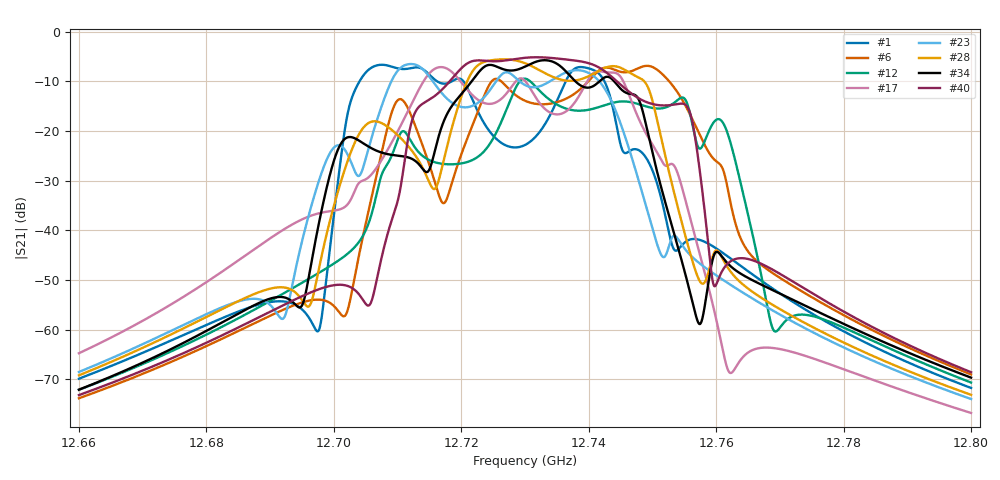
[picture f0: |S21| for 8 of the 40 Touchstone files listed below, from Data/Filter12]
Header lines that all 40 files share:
! TOUCHSTONE file generated by CST MICROWAVE STUDIO
! Project name: WaveGuide_BPF-Ver4.1_U-shape_Ku_T3_C4_CWA_2.cst
! Header version: 2018
! Port assignment regex: !\s*Touchstone port\s*([0-9]+)\s*=\s*(CST MWS port|CST DS port)\s*([0-9]+|Zmin|Zmax)\s*\(\"(.*)\"\)(\s*mode\s*([0-9]+))?.*
! Touchstone port assignment:
! Touchstone port 1 = CST MWS port 1 ("")
! Touchstone port 2 = CST MWS port 2 ("")
# GHz S RI R 50
Fixed: cavity_h = 16, cavity_l0 = 10, cavity_r = 2.5, cavity_screw_l = 0.5, cavity_screw_r = 1.5, cavity_w = 8, iris_h00 = 0, iris_h112 = 0, iris_rx = 0.1, iris_screw_l = 0.5, iris_screw_r = 1.5, iris_shift00 = 0, iris_shift112 = 0, iris_shift211 = 3.5, iris_shift310 = 0, iris_shift49 = 0, iris_shift58 = 3.5, iris_shift67 = 3.5, iris_tx = 4.5, iris_tz = 4.5, iris_w00 = 0, iris_w112 = 0, iris_w211 = 4, iris_w58 = 4, iris_w67 = 4, mesh_cavity = 5, mesh_iris = 7, mesh_screw = 7, order = 12, reset_all = 0, sigma = 4.8e+07
Also varied, not listed: iris_h45, iris_h49, iris_h56, iris_h58, iris_h67, iris_w310, iris_w49
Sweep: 12.66 GHz to 12.8 GHz
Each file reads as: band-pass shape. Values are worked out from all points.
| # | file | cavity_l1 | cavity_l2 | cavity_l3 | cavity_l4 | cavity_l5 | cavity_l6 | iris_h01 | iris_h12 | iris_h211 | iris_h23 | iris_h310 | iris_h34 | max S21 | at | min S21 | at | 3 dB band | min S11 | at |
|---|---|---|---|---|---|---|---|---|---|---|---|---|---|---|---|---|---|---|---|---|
| 1 | 001_Sprms.s2p | 15.2292 | 16.8302 | 17.1369 | 17.2518 | 17.1681 | 17.6195 | 8.8306 | 5.6052 | 3.6679 | 5.1996 | 3.9716 | 5.0803 | -6.69 dB | 12.708 GHz | -71.8 dB | 12.8 GHz | 12.704 GHz-12.716 GHz | -22.6 dB | 12.706 GHz |
| 2 | 002_Sprms.s2p | 15.1701 | 16.8843 | 17.0814 | 17.3094 | 17.1483 | 17.5959 | 8.8372 | 5.6103 | 3.6655 | 5.1879 | 3.9793 | 5.0769 | -10.77 dB | 12.715 GHz | -73.0 dB | 12.8 GHz | 12.713 GHz-12.717 GHz | -14.5 dB | 12.75 GHz |
| 3 | 003_Sprms.s2p | 15.2298 | 16.8192 | 17.0717 | 17.2862 | 17.136 | 17.6114 | 8.8359 | 5.6023 | 3.6569 | 5.19 | 3.9609 | 5.0897 | -5.58 dB | 12.733 GHz | -70.8 dB | 12.66 GHz | 12.727 GHz-12.741 GHz | -17.5 dB | 12.732 GHz |
| 4 | 004_Sprms.s2p | 15.2085 | 16.8552 | 17.0799 | 17.2599 | 17.1325 | 17.639 | 8.8243 | 5.6035 | 3.6643 | 5.189 | 3.9638 | 5.0735 | -5.57 dB | 12.729 GHz | -72.5 dB | 12.8 GHz | 12.715 GHz-12.741 GHz | -55.5 dB | 12.74 GHz |
| 5 | 005_Sprms.s2p | 15.1678 | 16.8512 | 17.0906 | 17.2327 | 17.1467 | 17.5814 | 8.8268 | 5.5891 | 3.6612 | 5.2028 | 3.9704 | 5.0715 | -7.87 dB | 12.718 GHz | -73.5 dB | 12.66 GHz | 12.726 GHz-12.737 GHz | -41.4 dB | 12.757 GHz |
| 6 | 006_Sprms.s2p | 15.1816 | 16.8329 | 17.0852 | 17.2877 | 17.0867 | 17.5606 | 8.8383 | 5.592 | 3.6511 | 5.1931 | 3.9728 | 5.084 | -6.90 dB | 12.749 GHz | -73.8 dB | 12.66 GHz | 12.74 GHz-12.753 GHz | -29.0 dB | 12.71 GHz |
| 7 | 007_Sprms.s2p | 15.202 | 16.8123 | 17.14 | 17.2793 | 17.1533 | 17.6235 | 8.8171 | 5.587 | 3.6586 | 5.1907 | 3.9668 | 5.0738 | -7.40 dB | 12.739 GHz | -75.4 dB | 12.66 GHz | 12.732 GHz-12.742 GHz | -10.2 dB | 12.74 GHz |
| 8 | 008_Sprms.s2p | 15.2332 | 16.8024 | 17.065 | 17.2306 | 17.1657 | 17.5861 | 8.8107 | 5.5984 | 3.6514 | 5.2008 | 3.9729 | 5.0713 | -7.87 dB | 12.749 GHz | -73.3 dB | 12.66 GHz | 12.725 GHz-12.732 GHz | -14.9 dB | 12.749 GHz |
| 9 | 009_Sprms.s2p | 15.2337 | 16.8358 | 17.1113 | 17.2346 | 17.087 | 17.6054 | 8.8258 | 5.5951 | 3.6652 | 5.2112 | 3.9671 | 5.0743 | -5.76 dB | 12.737 GHz | -72.5 dB | 12.8 GHz | 12.73 GHz-12.748 GHz | -15.9 dB | 12.741 GHz |
| 10 | 010_Sprms.s2p | 15.1724 | 16.8158 | 17.0746 | 17.309 | 17.1569 | 17.57 | 8.811 | 5.594 | 3.6688 | 5.203 | 3.977 | 5.0749 | -6.40 dB | 12.725 GHz | -76.4 dB | 12.66 GHz | 12.718 GHz-12.734 GHz | -15.5 dB | 12.725 GHz |
| 11 | 011_Sprms.s2p | 15.2342 | 16.8614 | 17.1323 | 17.2671 | 17.152 | 17.5607 | 8.8254 | 5.5999 | 3.6635 | 5.2049 | 3.9708 | 5.0674 | -6.39 dB | 12.717 GHz | -75.0 dB | 12.8 GHz | 12.714 GHz-12.721 GHz | -30.5 dB | 12.746 GHz |
| 12 | 012_Sprms.s2p | 15.2331 | 16.8315 | 17.075 | 17.2262 | 17.1717 | 17.5674 | 8.8 | 5.5911 | 3.6651 | 5.1931 | 3.9734 | 5.0731 | -9.48 dB | 12.73 GHz | -72.1 dB | 12.66 GHz | 12.728 GHz-12.733 GHz | -16.5 dB | 12.761 GHz |
| 13 | 013_Sprms.s2p | 15.1973 | 16.8712 | 17.1036 | 17.2289 | 17.1058 | 17.6267 | 8.8418 | 5.6121 | 3.6618 | 5.1924 | 3.9652 | 5.0843 | -5.71 dB | 12.739 GHz | -74.1 dB | 12.8 GHz | 12.723 GHz-12.744 GHz | -29.5 dB | 12.727 GHz |
| 14 | 014_Sprms.s2p | 15.2212 | 16.8621 | 17.1461 | 17.2364 | 17.165 | 17.5804 | 8.8071 | 5.6123 | 3.6561 | 5.188 | 3.9625 | 5.0922 | -7.68 dB | 12.714 GHz | -73.6 dB | 12.8 GHz | 12.709 GHz-12.716 GHz | -9.9 dB | 12.714 GHz |
| 15 | 015_Sprms.s2p | 15.1712 | 16.8484 | 17.091 | 17.3014 | 17.1413 | 17.5877 | 8.8247 | 5.6026 | 3.6645 | 5.2042 | 3.9609 | 5.0738 | -6.43 dB | 12.718 GHz | -72.7 dB | 12.66 GHz | 12.727 GHz-12.736 GHz | -29.0 dB | 12.705 GHz |
| 16 | 016_Sprms.s2p | 15.1925 | 16.8152 | 17.0647 | 17.2644 | 17.0953 | 17.6112 | 8.8133 | 5.586 | 3.6635 | 5.2002 | 3.9777 | 5.083 | -5.87 dB | 12.749 GHz | -75.6 dB | 12.66 GHz | 12.744 GHz-12.752 GHz | -22.8 dB | 12.718 GHz |
| 17 | 017_Sprms.s2p | 15.23 | 16.8809 | 17.0789 | 17.2727 | 17.1092 | 17.6258 | 8.8296 | 5.6113 | 3.6589 | 5.1996 | 3.975 | 5.092 | -7.15 dB | 12.717 GHz | -76.8 dB | 12.8 GHz | 12.714 GHz-12.72 GHz | -21.8 dB | 12.717 GHz |
| 18 | 018_Sprms.s2p | 15.2206 | 16.8226 | 17.0947 | 17.2669 | 17.1517 | 17.6213 | 8.7992 | 5.6051 | 3.6585 | 5.2094 | 3.976 | 5.0798 | -5.41 dB | 12.739 GHz | -72.7 dB | 12.66 GHz | 12.711 GHz-12.743 GHz | -27.9 dB | 12.74 GHz |
| 19 | 019_Sprms.s2p | 15.2333 | 16.8782 | 17.0892 | 17.2301 | 17.1553 | 17.5868 | 8.8009 | 5.5881 | 3.6536 | 5.2121 | 3.9688 | 5.0749 | -8.74 dB | 12.726 GHz | -75.7 dB | 12.8 GHz | 12.724 GHz-12.737 GHz | -8.6 dB | 12.756 GHz |
| 20 | 020_Sprms.s2p | 15.2102 | 16.8191 | 17.0803 | 17.3017 | 17.0952 | 17.5706 | 8.8388 | 5.6139 | 3.6607 | 5.2068 | 3.9616 | 5.0825 | -8.58 dB | 12.74 GHz | -71.0 dB | 12.66 GHz | 12.738 GHz-12.749 GHz | -10.9 dB | 12.707 GHz |
| 21 | 021_Sprms.s2p | 15.1631 | 16.8318 | 17.1407 | 17.2491 | 17.1265 | 17.6108 | 8.8018 | 5.5948 | 3.6544 | 5.1934 | 3.9631 | 5.0811 | -6.64 dB | 12.727 GHz | -76.7 dB | 12.66 GHz | 12.721 GHz-12.731 GHz | -24.9 dB | 12.705 GHz |
| 22 | 022_Sprms.s2p | 15.2249 | 16.8077 | 17.1191 | 17.2475 | 17.105 | 17.5542 | 8.8126 | 5.6087 | 3.6646 | 5.2046 | 3.965 | 5.0706 | -6.08 dB | 12.75 GHz | -72.5 dB | 12.66 GHz | 12.746 GHz-12.753 GHz | -14.9 dB | 12.75 GHz |
| 23 | 023_Sprms.s2p | 15.2314 | 16.8542 | 17.1429 | 17.2755 | 17.1653 | 17.5788 | 8.8212 | 5.5989 | 3.6639 | 5.2067 | 3.9616 | 5.0813 | -6.54 dB | 12.712 GHz | -74.0 dB | 12.8 GHz | 12.735 GHz-12.741 GHz | -18.2 dB | 12.712 GHz |
| 24 | 024_Sprms.s2p | 15.212 | 16.8155 | 17.0981 | 17.2653 | 17.1137 | 17.6101 | 8.8088 | 5.6024 | 3.6637 | 5.2022 | 3.977 | 5.0711 | -5.47 dB | 12.739 GHz | -73.6 dB | 12.66 GHz | 12.727 GHz-12.75 GHz | -22.9 dB | 12.731 GHz |
| 25 | 025_Sprms.s2p | 15.218 | 16.8041 | 17.1411 | 17.256 | 17.1597 | 17.606 | 8.8219 | 5.5994 | 3.6643 | 5.2084 | 3.9632 | 5.0739 | -7.71 dB | 12.744 GHz | -73.5 dB | 12.66 GHz | 12.739 GHz-12.746 GHz | -20.8 dB | 12.705 GHz |
| 26 | 026_Sprms.s2p | 15.2169 | 16.8612 | 17.0611 | 17.2808 | 17.1085 | 17.5825 | 8.8324 | 5.6015 | 3.6629 | 5.2111 | 3.9723 | 5.0807 | -7.24 dB | 12.721 GHz | -74.5 dB | 12.8 GHz | 12.716 GHz-12.723 GHz | -21.9 dB | 12.714 GHz |
| 27 | 027_Sprms.s2p | 15.1902 | 16.8296 | 17.1128 | 17.3052 | 17.1615 | 17.6409 | 8.821 | 5.5909 | 3.6672 | 5.2036 | 3.9706 | 5.088 | -5.21 dB | 12.728 GHz | -74.1 dB | 12.66 GHz | 12.715 GHz-12.736 GHz | -47.2 dB | 12.717 GHz |
| 28 | 028_Sprms.s2p | 15.2102 | 16.8559 | 17.1291 | 17.2778 | 17.1024 | 17.5647 | 8.839 | 5.6024 | 3.6598 | 5.1875 | 3.9639 | 5.0856 | -5.60 dB | 12.727 GHz | -73.2 dB | 12.8 GHz | 12.721 GHz-12.733 GHz | -17.0 dB | 12.723 GHz |
| 29 | 029_Sprms.s2p | 15.1734 | 16.8326 | 17.0806 | 17.2487 | 17.1513 | 17.6187 | 8.8044 | 5.5903 | 3.6571 | 5.1918 | 3.9752 | 5.08 | -6.04 dB | 12.736 GHz | -76.0 dB | 12.66 GHz | 12.73 GHz-12.742 GHz | -21.5 dB | 12.72 GHz |
| 30 | 030_Sprms.s2p | 15.2141 | 16.8531 | 17.1404 | 17.2419 | 17.089 | 17.5677 | 8.8163 | 5.5985 | 3.6685 | 5.1877 | 3.9723 | 5.09 | -5.63 dB | 12.735 GHz | -72.1 dB | 12.8 GHz | 12.731 GHz-12.739 GHz | -19.5 dB | 12.734 GHz |
| 31 | 031_Sprms.s2p | 15.1628 | 16.8021 | 17.1259 | 17.2621 | 17.1413 | 17.5921 | 8.8103 | 5.6011 | 3.6531 | 5.2113 | 3.9631 | 5.0914 | -5.76 dB | 12.742 GHz | -77.9 dB | 12.66 GHz | 12.738 GHz-12.745 GHz | -19.6 dB | 12.742 GHz |
| 32 | 032_Sprms.s2p | 15.1814 | 16.877 | 17.1313 | 17.2266 | 17.1348 | 17.6271 | 8.8243 | 5.5989 | 3.6547 | 5.1996 | 3.9691 | 5.079 | -6.00 dB | 12.727 GHz | -72.8 dB | 12.8 GHz | 12.719 GHz-12.731 GHz | -18.4 dB | 12.728 GHz |
| 33 | 033_Sprms.s2p | 15.1639 | 16.8677 | 17.1097 | 17.2999 | 17.1185 | 17.5856 | 8.7996 | 5.6094 | 3.6537 | 5.2077 | 3.9736 | 5.0746 | -6.41 dB | 12.742 GHz | -72.3 dB | 12.66 GHz | 12.731 GHz-12.745 GHz | -14.9 dB | 12.742 GHz |
| 34 | 034_Sprms.s2p | 15.1678 | 16.8631 | 17.1284 | 17.2769 | 17.1045 | 17.5606 | 8.8008 | 5.6139 | 3.6656 | 5.1989 | 3.9657 | 5.0908 | -5.77 dB | 12.733 GHz | -72.1 dB | 12.66 GHz | 12.722 GHz-12.737 GHz | -27.1 dB | 12.734 GHz |
| 35 | 035_Sprms.s2p | 15.223 | 16.8688 | 17.0888 | 17.2418 | 17.1541 | 17.6029 | 8.8122 | 5.6132 | 3.6521 | 5.1998 | 3.9725 | 5.0799 | -8.09 dB | 12.721 GHz | -74.9 dB | 12.8 GHz | 12.718 GHz-12.737 GHz | -20.8 dB | 12.754 GHz |
| 36 | 036_Sprms.s2p | 15.2132 | 16.8326 | 17.0798 | 17.2691 | 17.0987 | 17.578 | 8.8023 | 5.6069 | 3.6598 | 5.1981 | 3.9788 | 5.0896 | -5.67 dB | 12.74 GHz | -72.2 dB | 12.66 GHz | 12.735 GHz-12.755 GHz | -17.4 dB | 12.756 GHz |
| 37 | 037_Sprms.s2p | 15.1845 | 16.8523 | 17.0874 | 17.2289 | 17.1282 | 17.5655 | 8.8054 | 5.5916 | 3.6618 | 5.2102 | 3.9713 | 5.0727 | -6.18 dB | 12.732 GHz | -73.1 dB | 12.66 GHz | 12.728 GHz-12.739 GHz | -13.4 dB | 12.731 GHz |
| 38 | 038_Sprms.s2p | 15.2326 | 16.8488 | 17.1106 | 17.2987 | 17.0874 | 17.6155 | 8.8143 | 5.587 | 3.6575 | 5.2097 | 3.9738 | 5.0702 | -8.33 dB | 12.709 GHz | -73.2 dB | 12.8 GHz | 12.745 GHz-12.751 GHz | -19.5 dB | 12.706 GHz |
| 39 | 039_Sprms.s2p | 15.163 | 16.8449 | 17.1316 | 17.2625 | 17.1023 | 17.5967 | 8.7997 | 5.5913 | 3.6635 | 5.2035 | 3.9795 | 5.0705 | -6.42 dB | 12.734 GHz | -75.5 dB | 12.66 GHz | 12.722 GHz-12.745 GHz | -17.7 dB | 12.705 GHz |
| 40 | 040_Sprms.s2p | 15.1937 | 16.8235 | 17.0855 | 17.2715 | 17.1278 | 17.57 | 8.8292 | 5.6022 | 3.6665 | 5.1946 | 3.9779 | 5.0819 | -5.18 dB | 12.732 GHz | -73.2 dB | 12.66 GHz | 12.719 GHz-12.743 GHz | -21.6 dB | 12.712 GHz |
